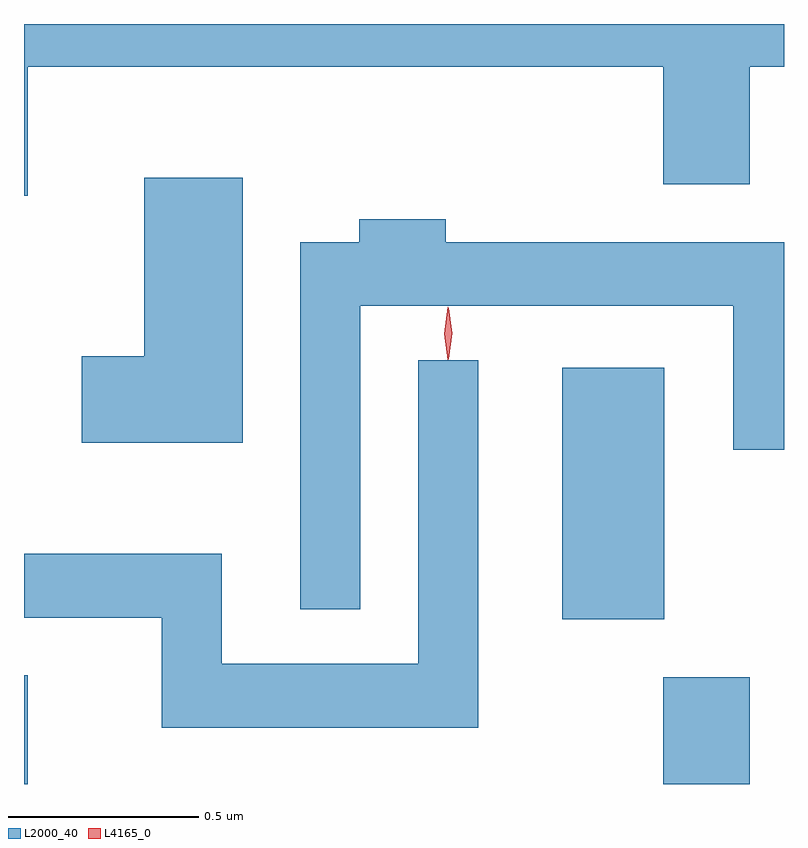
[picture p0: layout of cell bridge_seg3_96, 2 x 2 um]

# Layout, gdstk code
import gdstk
lib = gdstk.Library(unit=1e-6, precision=1e-09)
def R(c, l, rs):  # rectangles x0, y0, x1, y1
    for r in rs: c.add(gdstk.rectangle(r[:2], r[2:], *l))
def P(c, l, *ps):  # polygons
    for p in ps: c.add(gdstk.Polygon(p, *l))
L2000_40 = (2000, 40)
L4165_0 = (4165, 0)

bridge_seg3_96 = lib.new_cell('bridge_seg3_96')
R(bridge_seg3_96, L2000_40, [(927.199,1239.568,927.209,1239.854), (928.881,1239.568,929.109,1239.849), (928.616,1240.001,928.884,1240.664)])
P(bridge_seg3_96, L2000_40, [(927.209,1241.456),(928.881,1241.456),(928.881,1241.146),(929.109,1241.146),(929.109,1241.456),(929.199,1241.456),(929.199,1241.568),(927.199,1241.568),(927.199,1241.116),(927.209,1241.116)],
  [(927.774,1241.164),(927.516,1241.164),(927.516,1240.694),(927.351,1240.694),(927.351,1240.466),(927.774,1240.466)],
  [(928.084,1240.826),(929.066,1240.826),(929.066,1240.448),(929.199,1240.448),(929.199,1240.994),(928.309,1240.994),(928.309,1241.054),(928.081,1241.054),(928.081,1240.994),(927.926,1240.994),(927.926,1240.028),(928.084,1240.028)],
  [(928.394,1240.683),(928.236,1240.683),(928.236,1239.884),(927.719,1239.884),(927.719,1240.174),(927.199,1240.174),(927.199,1240.006),(927.561,1240.006),(927.561,1239.716),(928.394,1239.716)])
P(bridge_seg3_96, L4165_0, [(928.316,1240.687),(928.316,1240.687),(928.306,1240.754),(928.316,1240.82),(928.316,1240.821),(928.317,1240.82),(928.326,1240.754),(928.317,1240.687)],
  [(928.314,1240.684),(928.305,1240.753),(928.314,1240.822),(928.314,1240.823),(928.315,1240.822),(928.325,1240.753),(928.315,1240.684),(928.315,1240.684)])

lib.write_gds('bridge_seg3_96.gds')
